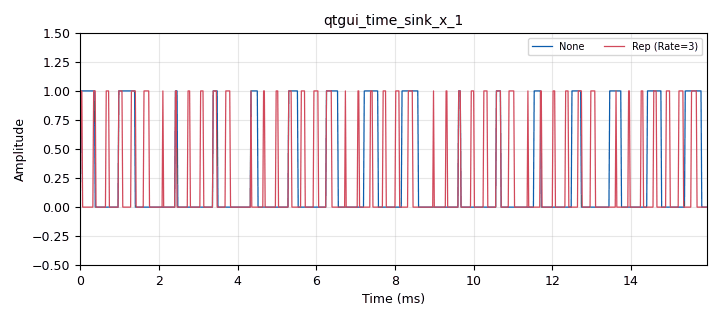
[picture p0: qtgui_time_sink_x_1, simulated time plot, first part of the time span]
<?xml version='1.0' encoding='utf-8'?>
<?grc format='1' created='3.7.13'?>
<flow_graph>
<block>
<key>options</key>
<param><key>id</key><value>fecapi_tagged_decoders</value></param>
<param><key>category</key><value>Custom</value></param>
<param><key>generate_options</key><value>qt_gui</value></param>
</block>
<block>
<key>variable_dummy_encoder_def</key>
<param><key>id</key><value></value></param>
<param><key>dim1</key><value>1</value></param>
<param><key>_enabled</key><value>0</value></param>
<param><key>framebits</key><value>2048</value></param>
<param><key>ndim</key><value>1</value></param>
</block>
<block>
<key>variable_cc_decoder_def</key>
<param><key>id</key><value>dec_cc</value></param>
<param><key>padding</key><value>True</value></param>
<param><key>k</key><value>k</value></param>
<param><key>dim1</key><value>1</value></param>
<param><key>state_end</key><value>-1</value></param>
<param><key>framebits</key><value>MTU*8</value></param>
<param><key>ndim</key><value>1</value></param>
<param><key>polys</key><value>polys</value></param>
<param><key>rate</key><value>rate</value></param>
<param><key>state_start</key><value>0</value></param>
<param><key>mode</key><value>fec.CC_TERMINATED</value></param>
</block>
<block>
<key>variable_dummy_decoder_def</key>
<param><key>id</key><value>dec_dummy</value></param>
<param><key>dim1</key><value>1</value></param>
<param><key>framebits</key><value>MTU*8</value></param>
<param><key>ndim</key><value>1</value></param>
</block>
<block>
<key>variable_repetition_decoder_def</key>
<param><key>id</key><value>dec_rep</value></param>
<param><key>dim1</key><value>1</value></param>
<param><key>framebits</key><value>MTU*8</value></param>
<param><key>ndim</key><value>1</value></param>
<param><key>rep</key><value>rep</value></param>
<param><key>prob</key><value>0.5</value></param>
</block>
<block>
<key>variable_cc_encoder_def</key>
<param><key>id</key><value>enc_cc</value></param>
<param><key>padding</key><value>True</value></param>
<param><key>k</key><value>k</value></param>
<param><key>framebits</key><value>MTU*8</value></param>
<param><key>ndim</key><value>0</value></param>
<param><key>polys</key><value>polys</value></param>
<param><key>rate</key><value>rate</value></param>
<param><key>state_start</key><value>0</value></param>
<param><key>mode</key><value>fec.CC_TERMINATED</value></param>
</block>
<block>
<key>variable_repetition_encoder_def</key>
<param><key>id</key><value>enc_dummy</value></param>
<param><key>dim1</key><value>1</value></param>
<param><key>framebits</key><value>MTU*8</value></param>
<param><key>ndim</key><value>1</value></param>
<param><key>rep</key><value>3</value></param>
</block>
<block>
<key>variable_repetition_encoder_def</key>
<param><key>id</key><value>enc_rep</value></param>
<param><key>dim1</key><value>1</value></param>
<param><key>framebits</key><value>MTU*8</value></param>
<param><key>ndim</key><value>1</value></param>
<param><key>rep</key><value>rep</value></param>
</block>
<block>
<key>variable</key>
<param><key>id</key><value>k</value></param>
<param><key>value</key><value>7</value></param>
</block>
<block>
<key>variable</key>
<param><key>id</key><value>length_tag</value></param>
<param><key>value</key><value>"packet_len"</value></param>
</block>
<block>
<key>variable</key>
<param><key>id</key><value>polys</value></param>
<param><key>value</key><value>[109, 79]</value></param>
</block>
<block>
<key>variable</key>
<param><key>id</key><value>rate</value></param>
<param><key>value</key><value>2</value></param>
</block>
<block>
<key>variable</key>
<param><key>id</key><value>rep</value></param>
<param><key>value</key><value>3</value></param>
</block>
<block>
<key>variable</key>
<param><key>id</key><value>samp_rate</value></param>
<param><key>value</key><value>50000</value></param>
</block>
<block>
<key>fec_extended_tagged_decoder</key>
<param><key>id</key><value></value></param>
<param><key>decoder_list</key><value>dec_rep</value></param>
<param><key>_enabled</key><value>0</value></param>
<param><key>lentagname</key><value>None</value></param>
<param><key>mtu</key><value>1500</value></param>
<param><key>puncpat</key><value>'11'</value></param>
</block>
<block>
<key>digital_map_bb</key>
<param><key>id</key><value></value></param>
<param><key>_enabled</key><value>0</value></param>
</block>
<block>
<key>digital_map_bb</key>
<param><key>id</key><value></value></param>
<param><key>_enabled</key><value>0</value></param>
</block>
<block>
<key>parameter</key>
<param><key>id</key><value>MTU</value></param>
<param><key>label</key><value>MTU</value></param>
<param><key>type</key><value>intx</value></param>
<param><key>value</key><value>1500</value></param>
</block>
<block>
<key>analog_random_source_x</key>
<param><key>id</key><value>analog_random_source_x_0</value></param>
<param><key>_enabled</key><value>False</value></param>
<param><key>max</key><value>256</value></param>
<param><key>min</key><value>0</value></param>
<param><key>num_samps</key><value>1000</value></param>
<param><key>type</key><value>byte</value></param>
<param><key>repeat</key><value>True</value></param>
</block>
<block>
<key>blocks_char_to_float</key>
<param><key>id</key><value>blocks_char_to_float_1</value></param>
<param><key>_enabled</key><value>0</value></param>
<param><key>scale</key><value>1</value></param>
</block>
<block>
<key>blocks_char_to_float</key>
<param><key>id</key><value>blocks_char_to_float_1_0</value></param>
<param><key>_enabled</key><value>0</value></param>
<param><key>scale</key><value>1</value></param>
</block>
<block>
<key>blocks_char_to_float</key>
<param><key>id</key><value>blocks_char_to_float_1_0_0</value></param>
<param><key>scale</key><value>1</value></param>
</block>
<block>
<key>blocks_char_to_float</key>
<param><key>id</key><value>blocks_char_to_float_1_0_1</value></param>
<param><key>scale</key><value>1</value></param>
</block>
<block>
<key>blocks_char_to_float</key>
<param><key>id</key><value>blocks_char_to_float_1_1</value></param>
<param><key>scale</key><value>1</value></param>
</block>
<block>
<key>blocks_char_to_float</key>
<param><key>id</key><value>blocks_char_to_float_1_2</value></param>
<param><key>scale</key><value>1</value></param>
</block>
<block>
<key>blocks_ctrlport_monitor_performance</key>
<param><key>id</key><value>blocks_ctrlport_monitor_performance_0</value></param>
<param><key>_enabled</key><value>False</value></param>
<param><key>en</key><value>True</value></param>
</block>
<block>
<key>blocks_repack_bits_bb</key>
<param><key>id</key><value>blocks_repack_bits_bb_0</value></param>
<param><key>k</key><value>8</value></param>
<param><key>l</key><value>1</value></param>
<param><key>endianness</key><value>gr.GR_LSB_FIRST</value></param>
<param><key>len_tag_key</key><value>packet_len</value></param>
</block>
<block>
<key>blocks_stream_to_tagged_stream</key>
<param><key>id</key><value>blocks_stream_to_tagged_stream_0_0_0</value></param>
<param><key>len_tag_key</key><value>length_tag</value></param>
<param><key>packet_len</key><value>frame_size</value></param>
<param><key>type</key><value>byte</value></param>
</block>
<block>
<key>blocks_throttle</key>
<param><key>id</key><value>blocks_throttle_0</value></param>
<param><key>samples_per_second</key><value>samp_rate</value></param>
<param><key>type</key><value>byte</value></param>
</block>
<block>
<key>blocks_vector_source_x</key>
<param><key>id</key><value>blocks_vector_source_x_0_1_0</value></param>
<param><key>type</key><value>byte</value></param>
<param><key>repeat</key><value>True</value></param>
<param><key>vector</key><value>4*[0, 0, 1, 0, 3, 0, 7, 0, 15, 0, 31, 0, 63, 0, 127]</value></param>
</block>
<block>
<key>digital_map_bb</key>
<param><key>id</key><value>digital_map_bb_0</value></param>
<param><key>_enabled</key><value>0</value></param>
<param><key>map</key><value>[-1, 1]</value></param>
</block>
<block>
<key>digital_map_bb</key>
<param><key>id</key><value>digital_map_bb_0_0</value></param>
<param><key>map</key><value>[-1, 1]</value></param>
</block>
<block>
<key>digital_map_bb</key>
<param><key>id</key><value>digital_map_bb_0_1</value></param>
<param><key>map</key><value>[-1, 1]</value></param>
</block>
<block>
<key>fec_extended_tagged_decoder</key>
<param><key>id</key><value>fec_extended_tagged_decoder_0</value></param>
<param><key>decoder_list</key><value>dec_dummy</value></param>
<param><key>lentagname</key><value>length_tag</value></param>
<param><key>mtu</key><value>MTU</value></param>
<param><key>puncpat</key><value>puncpat</value></param>
</block>
<block>
<key>fec_extended_tagged_decoder</key>
<param><key>id</key><value>fec_extended_tagged_decoder_0_0</value></param>
<param><key>decoder_list</key><value>decoder_variable</value></param>
<param><key>_enabled</key><value>0</value></param>
<param><key>lentagname</key><value>length_tag</value></param>
<param><key>mtu</key><value>MTU</value></param>
<param><key>puncpat</key><value>puncpat</value></param>
</block>
<block>
<key>fec_extended_tagged_decoder</key>
<param><key>id</key><value>fec_extended_tagged_decoder_0_1</value></param>
<param><key>decoder_list</key><value>dec_cc</value></param>
<param><key>lentagname</key><value>length_tag</value></param>
<param><key>mtu</key><value>MTU</value></param>
<param><key>puncpat</key><value>puncpat</value></param>
</block>
<block>
<key>fec_extended_tagged_encoder</key>
<param><key>id</key><value>fec_extended_tagged_encoder_0</value></param>
<param><key>encoder_list</key><value>enc_dummy</value></param>
<param><key>lentagname</key><value>length_tag</value></param>
<param><key>mtu</key><value>MTU</value></param>
<param><key>puncpat</key><value>puncpat</value></param>
</block>
<block>
<key>fec_extended_tagged_encoder</key>
<param><key>id</key><value>fec_extended_tagged_encoder_0_0</value></param>
<param><key>_enabled</key><value>0</value></param>
<param><key>encoder_list</key><value>enc_rep</value></param>
<param><key>lentagname</key><value>length_tag</value></param>
<param><key>mtu</key><value>MTU</value></param>
<param><key>puncpat</key><value>puncpat</value></param>
</block>
<block>
<key>fec_extended_tagged_encoder</key>
<param><key>id</key><value>fec_extended_tagged_encoder_0_1</value></param>
<param><key>encoder_list</key><value>enc_cc</value></param>
<param><key>lentagname</key><value>length_tag</value></param>
<param><key>mtu</key><value>MTU</value></param>
<param><key>puncpat</key><value>'11'</value></param>
</block>
<block>
<key>parameter</key>
<param><key>id</key><value>frame_size</value></param>
<param><key>label</key><value>Frame Size</value></param>
<param><key>type</key><value>intx</value></param>
<param><key>value</key><value>30</value></param>
</block>
<block>
<key>parameter</key>
<param><key>id</key><value>puncpat</value></param>
<param><key>type</key><value>string</value></param>
<param><key>value</key><value>'11'</value></param>
</block>
<block>
<key>qtgui_time_sink_x</key>
<param><key>id</key><value>qtgui_time_sink_x_1</value></param>
<param><key>color1</key><value>"blue"</value></param>
<param><key>label1</key><value>None</value></param>
<param><key>color2</key><value>"red"</value></param>
<param><key>label2</key><value>Rep (Rate=3)</value></param>
<param><key>name</key><value></value></param>
<param><key>nconnections</key><value>2</value></param>
<param><key>size</key><value>2048</value></param>
<param><key>srate</key><value>samp_rate</value></param>
<param><key>tr_level</key><value>0.1</value></param>
<param><key>tr_mode</key><value>qtgui.TRIG_MODE_NORM</value></param>
<param><key>type</key><value>float</value></param>
<param><key>update_time</key><value>0.01</value></param>
<param><key>ymax</key><value>1.5</value></param>
<param><key>ymin</key><value>-0.5</value></param>
</block>
<connection><source_block_id>analog_random_source_x_0</source_block_id><sink_block_id>blocks_throttle_0</sink_block_id><source_key>0</source_key><sink_key>0</sink_key></connection>
<connection><source_block_id>blocks_char_to_float_1</source_block_id><sink_block_id>fec_extended_tagged_decoder_0_0</sink_block_id><source_key>0</source_key><sink_key>0</sink_key></connection>
<connection><source_block_id>blocks_char_to_float_1_0</source_block_id><sink_block_id>qtgui_time_sink_x_1</sink_block_id><source_key>0</source_key><sink_key>1</sink_key></connection>
<connection><source_block_id>blocks_char_to_float_1_0_0</source_block_id><sink_block_id>qtgui_time_sink_x_1</sink_block_id><source_key>0</source_key><sink_key>1</sink_key></connection>
<connection><source_block_id>blocks_char_to_float_1_0_1</source_block_id><sink_block_id>qtgui_time_sink_x_1</sink_block_id><source_key>0</source_key><sink_key>0</sink_key></connection>
<connection><source_block_id>blocks_char_to_float_1_1</source_block_id><sink_block_id>fec_extended_tagged_decoder_0_1</sink_block_id><source_key>0</source_key><sink_key>0</sink_key></connection>
<connection><source_block_id>blocks_char_to_float_1_2</source_block_id><sink_block_id>fec_extended_tagged_decoder_0</sink_block_id><source_key>0</source_key><sink_key>0</sink_key></connection>
<connection><source_block_id>blocks_repack_bits_bb_0</source_block_id><sink_block_id>fec_extended_tagged_encoder_0</sink_block_id><source_key>0</source_key><sink_key>0</sink_key></connection>
<connection><source_block_id>blocks_repack_bits_bb_0</source_block_id><sink_block_id>fec_extended_tagged_encoder_0_0</sink_block_id><source_key>0</source_key><sink_key>0</sink_key></connection>
<connection><source_block_id>blocks_repack_bits_bb_0</source_block_id><sink_block_id>fec_extended_tagged_encoder_0_1</sink_block_id><source_key>0</source_key><sink_key>0</sink_key></connection>
<connection><source_block_id>blocks_stream_to_tagged_stream_0_0_0</source_block_id><sink_block_id>blocks_repack_bits_bb_0</sink_block_id><source_key>0</source_key><sink_key>0</sink_key></connection>
<connection><source_block_id>blocks_throttle_0</source_block_id><sink_block_id>blocks_stream_to_tagged_stream_0_0_0</sink_block_id><source_key>0</source_key><sink_key>0</sink_key></connection>
<connection><source_block_id>blocks_vector_source_x_0_1_0</source_block_id><sink_block_id>blocks_throttle_0</sink_block_id><source_key>0</source_key><sink_key>0</sink_key></connection>
<connection><source_block_id>digital_map_bb_0</source_block_id><sink_block_id>blocks_char_to_float_1</sink_block_id><source_key>0</source_key><sink_key>0</sink_key></connection>
<connection><source_block_id>digital_map_bb_0_0</source_block_id><sink_block_id>blocks_char_to_float_1_1</sink_block_id><source_key>0</source_key><sink_key>0</sink_key></connection>
<connection><source_block_id>digital_map_bb_0_1</source_block_id><sink_block_id>blocks_char_to_float_1_2</sink_block_id><source_key>0</source_key><sink_key>0</sink_key></connection>
<connection><source_block_id>fec_extended_tagged_decoder_0</source_block_id><sink_block_id>blocks_char_to_float_1_0_1</sink_block_id><source_key>0</source_key><sink_key>0</sink_key></connection>
<connection><source_block_id>fec_extended_tagged_decoder_0_0</source_block_id><sink_block_id>blocks_char_to_float_1_0</sink_block_id><source_key>0</source_key><sink_key>0</sink_key></connection>
<connection><source_block_id>fec_extended_tagged_decoder_0_1</source_block_id><sink_block_id>blocks_char_to_float_1_0_0</sink_block_id><source_key>0</source_key><sink_key>0</sink_key></connection>
<connection><source_block_id>fec_extended_tagged_encoder_0</source_block_id><sink_block_id>digital_map_bb_0_1</sink_block_id><source_key>0</source_key><sink_key>0</sink_key></connection>
<connection><source_block_id>fec_extended_tagged_encoder_0_0</source_block_id><sink_block_id>digital_map_bb_0</sink_block_id><source_key>0</source_key><sink_key>0</sink_key></connection>
<connection><source_block_id>fec_extended_tagged_encoder_0_1</source_block_id><sink_block_id>digital_map_bb_0_0</sink_block_id><source_key>0</source_key><sink_key>0</sink_key></connection>
</flow_graph>
